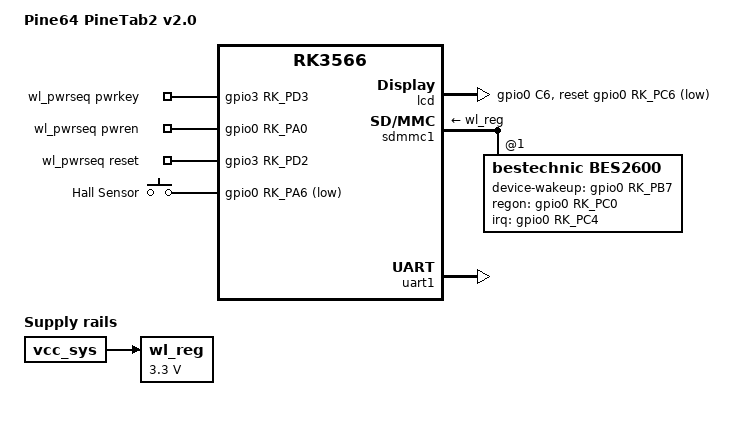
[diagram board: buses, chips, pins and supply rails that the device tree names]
// SPDX-License-Identifier: (GPL-2.0+ OR MIT)

/dts-v1/;

#include "rk3566-pinetab2.dtsi"

/ {
	model = "Pine64 PineTab2 v2.0";
	compatible = "pine64,pinetab2-v2.0", "pine64,pinetab2", "rockchip,rk3566";

	// todo, use this + simple pwrseq instead of custom pwrseq driver
	wl_reg: wl-regulator {
		compatible = "regulator-fixed";
//		enable-active-high;
//		gpio = <&gpio0 RK_PA0 GPIO_ACTIVE_HIGH>;
//		pinctrl-names = "default";
//		pinctrl-0 = <&wifi_pwren>;
		regulator-name = "wl_reg";
		regulator-min-microvolt = <3300000>;
		regulator-max-microvolt = <3300000>;
		vin-supply = <&vcc_sys>;
//		startup-delay-us = <100000>;
//		off-on-delay-us = <100000>;
	};

	wl_pwrseq: wl-pwrseq {
		compatible = "mmc-pwrseq-bes";
		clocks = <&rk817 1>;
		clock-names = "ext_clock";
		pinctrl-names = "default";
		pinctrl-0 = <&wifi_pwrkey &wifi_reset &wifi_pwren>;
		pwrkey-gpios = <&gpio3 RK_PD3 GPIO_ACTIVE_HIGH>;
		pwren-gpios = <&gpio0 RK_PA0 GPIO_ACTIVE_HIGH>;
		reset-gpios = <&gpio3 RK_PD2 GPIO_ACTIVE_HIGH>;
	};
};

&gpio_keys {
	pinctrl-0 = <&kb_id_det>, <&hall_int_l>;

	event-hall-sensor {
		debounce-interval = <20>;
		gpios = <&gpio0 RK_PA6 GPIO_ACTIVE_LOW>;
		label = "Hall Sensor";
		linux,code = <SW_LID>;
		linux,input-type = <EV_SW>;
		wakeup-event-action = <EV_ACT_DEASSERTED>;
		wakeup-source;
	};
};

&lcd {
	reset-gpios = <&gpio0 RK_PC6 GPIO_ACTIVE_LOW>;
	pinctrl-names = "default";
	pinctrl-0 = <&lcd_pwren_h &lcd0_rst_l>;
};

&pinctrl {
	lcd0 {
		lcd0_rst_l: lcd0-rst-l {
			rockchip,pins = <0 RK_PC6 RK_FUNC_GPIO &pcfg_pull_none>;
		};
	};

	hall {
		hall_int_l: hall-int-l {
			rockchip,pins = <0 RK_PA6 RK_FUNC_GPIO &pcfg_pull_none>;
		};
	};

	wifi {
		wifi_pwrkey: wifi-pwrkey {
			rockchip,pins = <3 RK_PD3 RK_FUNC_GPIO &pcfg_pull_none>;
		};

		wifi_reset: wifi-reset {
			rockchip,pins = <3 RK_PD2 RK_FUNC_GPIO &pcfg_pull_none>;
		};

		wifi_regon: wifi-regon {
			rockchip,pins = <0 RK_PC0 RK_FUNC_GPIO &pcfg_pull_none>;
		};

		wifi_pwren: wifi-pwren {
			rockchip,pins = <0 RK_PA0 RK_FUNC_GPIO &pcfg_pull_none>;
		};
	};
};

&sdmmc1 {
	vmmc-supply = <&wl_reg>;
	mmc-pwrseq = <&wl_pwrseq>;
	#address-cells = <1>;
	#size-cells = <0>;

	bes2600: wifi@1 {
		compatible = "bestechnic,bes2600";
		reg = <1>;
		pinctrl-names = "default";
		pinctrl-0 = <&host_wake_wl &wifi_wake_host_h &wifi_regon>;

		interrupt-parent = <&gpio0>;
		interrupts = <RK_PC4 IRQ_TYPE_EDGE_RISING>;

		device-wakeup-gpios = <&gpio0 RK_PB7 GPIO_ACTIVE_HIGH>; // host_wake_wl
		//host-wakeup-gpios = <&gpio0 RK_PC4 GPIO_ACTIVE_HIGH>; // wifi_wake_host_h
		regon-gpios = <&gpio0 RK_PC0 GPIO_ACTIVE_HIGH>;
	};
};

// for wifi chip comm
&uart1 {
	pinctrl-0 = <&uart1m0_xfer>;
	pinctrl-names = "default";
	status = "okay";
};

&uart1m0_xfer {
	rockchip,pins =
		<2 RK_PB3 2 &pcfg_pull_down>, // RX
		<2 RK_PB4 RK_FUNC_GPIO &pcfg_pull_down>; // TX
};
